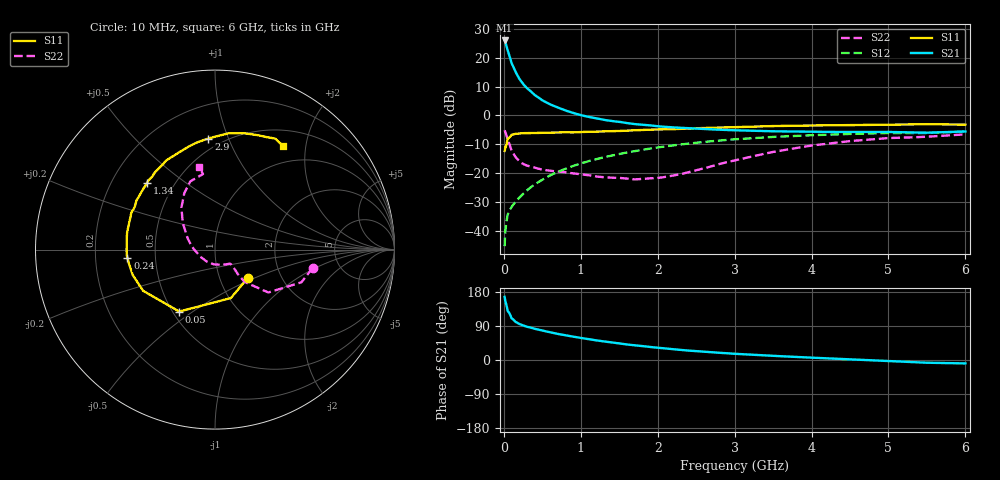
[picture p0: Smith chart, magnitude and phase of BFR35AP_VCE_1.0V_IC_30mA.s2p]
! Infineon Technologies  Discrete & RF Semiconductors
! BFR35AP
! VCE =  1.0 V,  IC =  30 mA
! Common Emitter S-Parameters:  Nov 2015
# GHz  S  MA  R  50
!  f  S11  S21  S12  S22
! GHz  MAG  ANG  MAG  ANG  MAG  ANG  MAG  ANG
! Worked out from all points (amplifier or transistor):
!   210 points, 10 MHz to 6 GHz, reference 50 ohm
!   highest |S21| = 26.0 dB at 10 MHz (marker M1)
!   |S21| within 3 dB of that: start of sweep to 44.86 MHz
!   unconditionally stable (mu >= 1): start of sweep to end of sweep
!   at 185 MHz: K = 2.21, MAG = 15.0 dB, |S12| = -29.0 dB
!   at 1.52 GHz: K = 2.19, MAG = -0.7 dB, |S12| = -13.3 dB
!   at 6 GHz: K = 1.20, MAG = -2.7 dB, |S12| = -5.6 dB
!   S11 on the Smith chart (normalised r, x): 10 MHz: 1.35, -0.46; 50 MHz: 0.54, -0.44; 240 MHz: 0.34, -0.04; 1.34 GHz: 0.35, +0.36; 2.9 GHz: 0.42, +0.85; 6 GHz: 0.72, +1.60
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0.01  0.2414 -41.3  19.91 166.6  0.0054 69.9  0.553 -10.7
0.02  0.2841 -71.9  18.69 154.4  0.0102 66.4  0.5149 -20.7
0.05  0.3984 -120.0  13.42 129.5  0.0191 55.3  0.3813 -38.8
0.1  0.4618 -150.2  8.087 110.2  0.0258 51.7  0.245 -47.4
0.15  0.4795 -162.8  5.707 100.8  0.0316 55.1  0.19 -47.2
0.2  0.4846 -170.0  4.334 95.1  0.0373 58.7  0.1616 -45.4
0.24  0.4902 -174.4  3.659 91.9  0.0422 60.8  0.147 -44.4
0.26  0.492 -176.2  3.387 90.3  0.0447 61.8  0.1417 -43.9
0.3  0.4927 -179.0  2.971 87.7  0.0501 63.5  0.1349 -43.2
0.4  0.4949 173.9  2.262 82.4  0.0633 66.0  0.1239 -42.3
0.5  0.4988 169.1  1.826 77.5  0.0765 67.2  0.1144 -43.4
0.6  0.5004 163.8  1.556 73.1  0.0907 67.7  0.1096 -46.1
0.7  0.5031 159.9  1.372 68.9  0.1044 67.3  0.1067 -49.3
1.02  0.516 147.3  0.996 57.7  0.1494 64.7  0.0946 -63.2
1.34  0.5298 135.8  0.82 48.0  0.1931 60.5  0.084 -82.5
2.02  0.5696 115.4  0.644 31.9  0.2803 50.2  0.0829 -139.6
2.9  0.62 93.4  0.558 17.8  0.3754 35.7  0.1542 161.1
3.1  0.6298 89.8  0.546 15.3  0.3918 32.3  0.1774 153.0
4.1  0.67 74.8  0.518 5.3  0.457 17.2  0.3108 126.3
5.1  0.6916 64.8  0.513 -3.7  0.4942 3.9  0.4074 107.6
5.5  0.7036 61.5  0.501 -7.2  0.4946 -1.2  0.4263 99.0
6  0.6907 57.0  0.526 -9.0  0.5251 -5.0  0.4688 101.0
